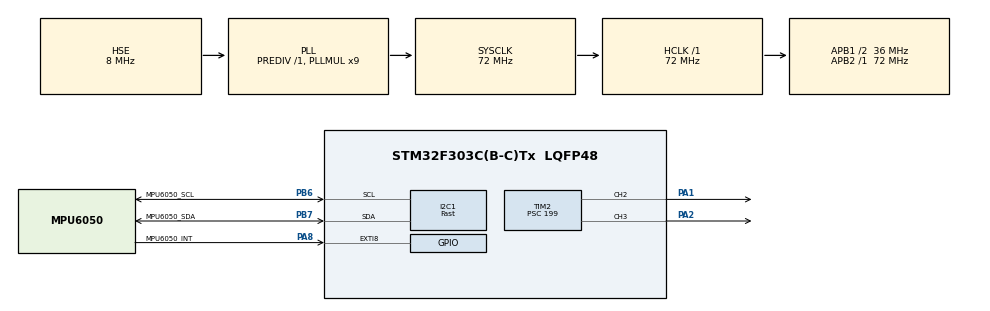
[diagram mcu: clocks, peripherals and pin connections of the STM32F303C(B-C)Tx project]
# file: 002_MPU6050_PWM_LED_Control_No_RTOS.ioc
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I2C1.Analog_Filter=I2C_ANALOGFILTER_DISABLE
I2C1.I2C_Fall_Time=25
I2C1.I2C_Rise_Time=25
I2C1.I2C_Speed_Mode=I2C_Fast
I2C1.Timing=0x0000020C
Mcu.Family=STM32F3
Mcu.Name=STM32F303C(B-C)Tx
Mcu.Package=LQFP48
NVIC.EXTI9_5_IRQn=true\:0\:0\:false\:false\:true\:true\:true\:true
NVIC.PriorityGroup=NVIC_PRIORITYGROUP_4
PA1.Signal=S_TIM2_CH2
PA2.Signal=S_TIM2_CH3
PA8.GPIO_Label=MPU6050_INT
PA8.Signal=GPXTI8
PB6.GPIO_Label=MPU6050_SCL
PB6.Mode=I2C
PB6.Signal=I2C1_SCL
PB7.GPIO_Label=MPU6050_SDA
PB7.Mode=I2C
PB7.Signal=I2C1_SDA
PF0-OSC_IN.Mode=HSE-External-Oscillator
PF0-OSC_IN.Signal=RCC_OSC_IN
PF1-OSC_OUT.Mode=HSE-External-Oscillator
PF1-OSC_OUT.Signal=RCC_OSC_OUT
ProjectManager.HeapSize=0x200
ProjectManager.StackSize=0x400
ProjectManager.TargetToolchain=STM32CubeIDE
RCC.AHBFreq_Value=72000000
RCC.APB1CLKDivider=RCC_HCLK_DIV2
RCC.APB1Freq_Value=36000000
RCC.APB1TimFreq_Value=72000000
RCC.APB2Freq_Value=72000000
RCC.APB2TimFreq_Value=72000000
RCC.CortexFreq_Value=72000000
RCC.HCLKFreq_Value=72000000
RCC.HSE_VALUE=8000000
RCC.HSI_VALUE=8000000
RCC.LSE_VALUE=32768
RCC.PLLMUL=RCC_PLL_MUL9
RCC.PLLSourceVirtual=RCC_PLLSOURCE_HSE
RCC.SYSCLKFreq_VALUE=72000000
RCC.SYSCLKSourceVirtual=RCC_SYSCLKSOURCE_PLLCLK
RCC.USBFreq_Value=72000000
SH.S_TIM2_CH2.0=TIM2_CH2,PWM Generation2 CH2
SH.S_TIM2_CH3.0=TIM2_CH3,PWM Generation3 CH3
TIM2.Channel-PWM\ Generation2\ CH2=TIM_CHANNEL_2
TIM2.Channel-PWM\ Generation3\ CH3=TIM_CHANNEL_3
TIM2.Period=19999
TIM2.Prescaler=199
TIM2.Pulse-PWM\ Generation2\ CH2=8000
TIM2.Pulse-PWM\ Generation3\ CH3=4000
TIM2.TIM_MasterOutputTrigger=TIM_TRGO_UPDATE
VP_TIM2_VS_ClockSourceINT.Mode=Internal
board=custom

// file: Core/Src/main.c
/* USER CODE BEGIN Header */
/**
  ******************************************************************************
  * @file           : main.c
  * @brief          : Main program body
  ******************************************************************************
  * @attention
  *
  * Copyright (c) 2024 STMicroelectronics.
  * All rights reserved.
  *
  * This software is licensed under terms that can be found in the LICENSE file
  * in the root directory of this software component.
  * If no LICENSE file comes with this software, it is provided AS-IS.
  *
  ******************************************************************************
  */
/* USER CODE END Header */
#include "main.h"

/* USER CODE BEGIN Includes */
#include "mpu6050.h"
#include <math.h>
#include "kalman_filter.h"
#include "main.h"
#include "debug.h"
#include "core_cm4.h"
/* USER CODE END Includes */

I2C_HandleTypeDef hi2c1;

TIM_HandleTypeDef htim2;

/* USER CODE BEGIN PV */

uint32_t g_counter = 0;
volatile uint32_t g_channel_2_state = 8000;
volatile uint32_t g_channel_3_state = 4000;

mpu6050_accel_data_t g_accel_data;
const mpu6050_accel_data_t error_offset =  {
		.x = 896,
		.y = -140,
		.z = 156
};

float roll_angle;
int16_t kalman_roll_angle;
int16_t roll_angle_filtered;

/* USER CODE END PV */

void SystemClock_Config(void);
static void MX_GPIO_Init(void);
static void MX_I2C1_Init(void);
static void MX_TIM2_Init(void);

/* USER CODE BEGIN 0 */
#define PWM_PULSE_MIN 0
#define PWM_PULSE_MAX  40

#define ANGLE_POS_MIN 0
#define ANGLE_POS_MAX 90

// Map function: re-maps a number from one range to another
long map(long x, long in_min, long in_max, long out_min, long out_max) {
    // Perform  mapping
    long result = (x - in_min) * (out_max - out_min) / (in_max - in_min) + out_min;

    // Clamp the result to the output range
    if (result > out_max) {
        result = out_max;
    } else if (result < out_min) {
        result = out_min;
    }

    return result;
}

void change_pwm_duty_cycle(uint32_t pwm_pulse, uint8_t timer_channel) {
	__HAL_TIM_SET_COMPARE(&htim2, timer_channel, pwm_pulse);
}

void init_cycle_counter(void) {
    // Enable DWT (Data Watchpoint and Trace)
    CoreDebug->DEMCR |= CoreDebug_DEMCR_TRCENA_Msk;
    // Reset cycle counter
    DWT->CYCCNT = 0;
    // Enable cycle counter
    DWT->CTRL |= DWT_CTRL_CYCCNTENA_Msk;
}

// Function to get the current cycle count
uint32_t get_cycle_count(void) {
    return DWT->CYCCNT;
}
/* USER CODE END 0 */

int main(void)
{

  /* USER CODE BEGIN 1 */
	float dt = 0;
  /* USER CODE END 1 */

  /* MCU Configuration--------------------------------------------------------*/

  /* Reset of all peripherals, Initializes the Flash interface and the Systick. */
  HAL_Init();

  /* Configure the system clock */
  SystemClock_Config();

  /* Initialize all configured peripherals */
  MX_GPIO_Init();
  MX_I2C1_Init();
  MX_TIM2_Init();
  /* USER CODE BEGIN 2 */

  init_cycle_counter();

  KalmanFilter kf;
  kalman_filter_init(&kf);

  if (mpu6050_init(&hi2c1, MPU6050_I2C_ADDR) != MPU6050_OK) {
	  Error_Handler();
  }

  if (mpu6050_configure_low_pass_filter(&hi2c1,DLPF_CFG_21HZ) != MPU6050_OK) {
	  Error_Handler();
  }

  __HAL_TIM_ENABLE_IT(&htim2, TIM_IT_UPDATE);

  if (HAL_TIM_PWM_Start_IT(&htim2, TIM_CHANNEL_2) != HAL_OK) {
	  Error_Handler();
  }

  if (HAL_TIM_PWM_Start_IT(&htim2, TIM_CHANNEL_3) != HAL_OK) {
	  Error_Handler();
  }

  uint32_t previous_tick = HAL_GetTick();
  /* USER CODE END 2 */

  /* Infinite loop */
  while (1)
  {

    /* USER CODE BEGIN 3 */

	uint32_t current_tick = HAL_GetTick();
	dt = (current_tick - previous_tick) / 1000.0f;
	previous_tick = current_tick;

#ifdef PWM_DEBUG
	  g_counter = __HAL_TIM_GET_COUNTER(&htim2);
#endif

	if (mpu6050_read_accelerometer_data(&hi2c1, MPU6050_I2C_ADDR, &g_accel_data) != MPU6050_OK) {
	  Error_Handler();
	}

	g_accel_data = mpu6050_accelerometer_calibration(&error_offset, &g_accel_data);

	roll_angle = atan2(g_accel_data.y, g_accel_data.z) * (180.0 / M_PI);

	roll_angle_filtered = (int16_t)kalman_filter_get_angle(&kf, roll_angle, dt);

	uint8_t channel = (roll_angle_filtered < 0) ? TIM_CHANNEL_2 : TIM_CHANNEL_3;

	roll_angle_filtered = (roll_angle_filtered < 0) ? -roll_angle_filtered : roll_angle_filtered;

	uint32_t pwm_pulse = map(roll_angle_filtered, ANGLE_POS_MIN, ANGLE_POS_MAX, \
									PWM_PULSE_MIN, PWM_PULSE_MAX);

	change_pwm_duty_cycle(pwm_pulse, channel);

#if 0
	  DEBUG_DT(dt * 10000);
	  roll_angle_filtered = (int16_t)kalman_filter_get_angle(&kf, roll_angle, dt);

	  DEBUG_ROLL_ANGLE(roll_angle);
	  DEBUG_ROLL_ANGLE_FILT(roll_angle_filtered);

	  uint8_t channel = (roll_angle_filtered < 0) ? TIM_CHANNEL_2 : TIM_CHANNEL_3;

	  roll_angle_filtered = (roll_angle_filtered < 0) ? -roll_angle_filtered : roll_angle_filtered;

	  uint32_t pwm_pulse = map(roll_angle_filtered, ANGLE_POS_MIN, ANGLE_POS_MAX, \
			  PWM_PULSE_MIN, PWM_PULSE_MAX);

#endif

  }
  /* USER CODE END 3 */
}

void SystemClock_Config(void)
{
  RCC_OscInitTypeDef RCC_OscInitStruct = {0};
  RCC_ClkInitTypeDef RCC_ClkInitStruct = {0};
  RCC_PeriphCLKInitTypeDef PeriphClkInit = {0};

  /** Initializes the RCC Oscillators according to the specified parameters
  * in the RCC_OscInitTypeDef structure.
  */
  RCC_OscInitStruct.OscillatorType = RCC_OSCILLATORTYPE_HSI|RCC_OSCILLATORTYPE_HSE;
  RCC_OscInitStruct.HSEState = RCC_HSE_ON;
  RCC_OscInitStruct.HSEPredivValue = RCC_HSE_PREDIV_DIV1;
  RCC_OscInitStruct.HSIState = RCC_HSI_ON;
  RCC_OscInitStruct.HSICalibrationValue = RCC_HSICALIBRATION_DEFAULT;
  RCC_OscInitStruct.PLL.PLLState = RCC_PLL_ON;
  RCC_OscInitStruct.PLL.PLLSource = RCC_PLLSOURCE_HSE;
  RCC_OscInitStruct.PLL.PLLMUL = RCC_PLL_MUL9;
  if (HAL_RCC_OscConfig(&RCC_OscInitStruct) != HAL_OK)
  {
    Error_Handler();
  }

  /** Initializes the CPU, AHB and APB buses clocks
  */
  RCC_ClkInitStruct.ClockType = RCC_CLOCKTYPE_HCLK|RCC_CLOCKTYPE_SYSCLK
                              |RCC_CLOCKTYPE_PCLK1|RCC_CLOCKTYPE_PCLK2;
  RCC_ClkInitStruct.SYSCLKSource = RCC_SYSCLKSOURCE_PLLCLK;
  RCC_ClkInitStruct.AHBCLKDivider = RCC_SYSCLK_DIV1;
  RCC_ClkInitStruct.APB1CLKDivider = RCC_HCLK_DIV2;
  RCC_ClkInitStruct.APB2CLKDivider = RCC_HCLK_DIV1;

  if (HAL_RCC_ClockConfig(&RCC_ClkInitStruct, FLASH_LATENCY_2) != HAL_OK)
  {
    Error_Handler();
  }
  PeriphClkInit.PeriphClockSelection = RCC_PERIPHCLK_I2C1;
  PeriphClkInit.I2c1ClockSelection = RCC_I2C1CLKSOURCE_HSI;
  if (HAL_RCCEx_PeriphCLKConfig(&PeriphClkInit) != HAL_OK)
  {
    Error_Handler();
  }
}

static void MX_I2C1_Init(void)
{

  hi2c1.Instance = I2C1;
  hi2c1.Init.Timing = 0x0000020C;
  hi2c1.Init.OwnAddress1 = 0;
  hi2c1.Init.AddressingMode = I2C_ADDRESSINGMODE_7BIT;
  hi2c1.Init.DualAddressMode = I2C_DUALADDRESS_DISABLE;
  hi2c1.Init.OwnAddress2 = 0;
  hi2c1.Init.OwnAddress2Masks = I2C_OA2_NOMASK;
  hi2c1.Init.GeneralCallMode = I2C_GENERALCALL_DISABLE;
  hi2c1.Init.NoStretchMode = I2C_NOSTRETCH_DISABLE;
  if (HAL_I2C_Init(&hi2c1) != HAL_OK)
  {
    Error_Handler();
  }

  /** Configure Analogue filter
  */
  if (HAL_I2CEx_ConfigAnalogFilter(&hi2c1, I2C_ANALOGFILTER_DISABLE) != HAL_OK)
  {
    Error_Handler();
  }

  /** Configure Digital filter
  */
  if (HAL_I2CEx_ConfigDigitalFilter(&hi2c1, 0) != HAL_OK)
  {
    Error_Handler();
  }

}

static void MX_TIM2_Init(void)
{

  TIM_ClockConfigTypeDef sClockSourceConfig = {0};
  TIM_MasterConfigTypeDef sMasterConfig = {0};
  TIM_OC_InitTypeDef sConfigOC = {0};

  htim2.Instance = TIM2;
  htim2.Init.Prescaler = 199;
  htim2.Init.CounterMode = TIM_COUNTERMODE_UP;
  htim2.Init.Period = 19999;
  htim2.Init.ClockDivision = TIM_CLOCKDIVISION_DIV1;
  htim2.Init.AutoReloadPreload = TIM_AUTORELOAD_PRELOAD_DISABLE;
  if (HAL_TIM_Base_Init(&htim2) != HAL_OK)
  {
    Error_Handler();
  }
  sClockSourceConfig.ClockSource = TIM_CLOCKSOURCE_INTERNAL;
  if (HAL_TIM_ConfigClockSource(&htim2, &sClockSourceConfig) != HAL_OK)
  {
    Error_Handler();
  }
  if (HAL_TIM_PWM_Init(&htim2) != HAL_OK)
  {
    Error_Handler();
  }
  sMasterConfig.MasterOutputTrigger = TIM_TRGO_UPDATE;
  sMasterConfig.MasterSlaveMode = TIM_MASTERSLAVEMODE_DISABLE;
  if (HAL_TIMEx_MasterConfigSynchronization(&htim2, &sMasterConfig) != HAL_OK)
  {
    Error_Handler();
  }
  sConfigOC.OCMode = TIM_OCMODE_PWM1;
  sConfigOC.Pulse = 8000;
  sConfigOC.OCPolarity = TIM_OCPOLARITY_HIGH;
  sConfigOC.OCFastMode = TIM_OCFAST_DISABLE;
  if (HAL_TIM_PWM_ConfigChannel(&htim2, &sConfigOC, TIM_CHANNEL_2) != HAL_OK)
  {
    Error_Handler();
  }
  sConfigOC.Pulse = 4000;
  if (HAL_TIM_PWM_ConfigChannel(&htim2, &sConfigOC, TIM_CHANNEL_3) != HAL_OK)
  {
    Error_Handler();
  }
  HAL_TIM_MspPostInit(&htim2);

}

static void MX_GPIO_Init(void)
{
  GPIO_InitTypeDef GPIO_InitStruct = {0};

  /* GPIO Ports Clock Enable */
  __HAL_RCC_GPIOF_CLK_ENABLE();
  __HAL_RCC_GPIOA_CLK_ENABLE();
  __HAL_RCC_GPIOB_CLK_ENABLE();

  /*Configure GPIO pin : MPU6050_INT_Pin */
  GPIO_InitStruct.Pin = MPU6050_INT_Pin;
  GPIO_InitStruct.Mode = GPIO_MODE_IT_RISING;
  GPIO_InitStruct.Pull = GPIO_NOPULL;
  HAL_GPIO_Init(MPU6050_INT_GPIO_Port, &GPIO_InitStruct);

  /* EXTI interrupt init*/
  HAL_NVIC_SetPriority(EXTI9_5_IRQn, 0, 0);
  HAL_NVIC_EnableIRQ(EXTI9_5_IRQn);

}

void Error_Handler(void)
{
  __disable_irq();
  while (1)
  {
  }
}
